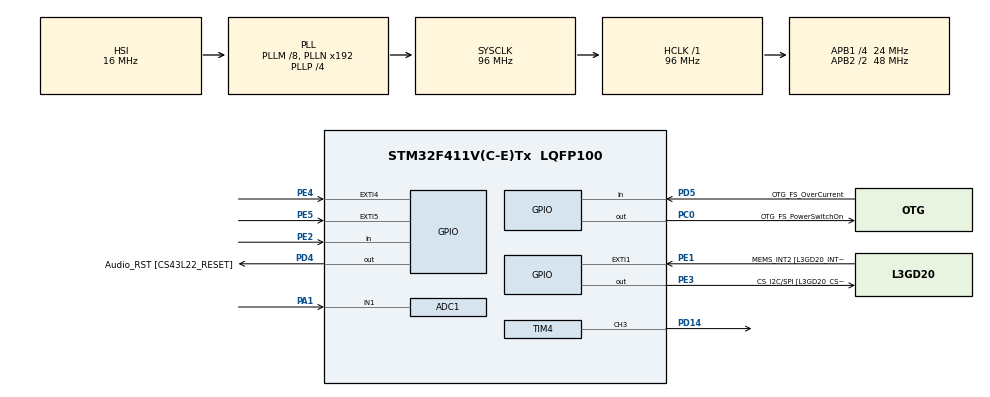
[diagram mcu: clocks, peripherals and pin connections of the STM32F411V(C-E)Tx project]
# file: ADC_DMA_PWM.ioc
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ADC1.Channel-0\#ChannelRegularConversion=ADC_CHANNEL_1
ADC1.ContinuousConvMode=ENABLE
ADC1.DMAContinuousRequests=ENABLE
ADC1.EOCSelection=ADC_EOC_SEQ_CONV
ADC1.InjNumberOfConversion=0
ADC1.NbrOfConversionFlag=1
ADC1.master=1
Dma.ADC1.0.Direction=DMA_PERIPH_TO_MEMORY
Dma.ADC1.0.FIFOMode=DMA_FIFOMODE_DISABLE
Dma.ADC1.0.Instance=DMA2_Stream0
Dma.ADC1.0.MemDataAlignment=DMA_MDATAALIGN_HALFWORD
Dma.ADC1.0.MemInc=DMA_MINC_ENABLE
Dma.ADC1.0.Mode=DMA_NORMAL
Dma.ADC1.0.PeriphDataAlignment=DMA_PDATAALIGN_HALFWORD
Dma.ADC1.0.PeriphInc=DMA_PINC_DISABLE
Dma.ADC1.0.Priority=DMA_PRIORITY_LOW
Dma.Request0=ADC1
Dma.Request1=TIM4_CH3
Dma.TIM4_CH3.1.Direction=DMA_MEMORY_TO_PERIPH
Dma.TIM4_CH3.1.FIFOMode=DMA_FIFOMODE_DISABLE
Dma.TIM4_CH3.1.Instance=DMA1_Stream7
Dma.TIM4_CH3.1.MemDataAlignment=DMA_MDATAALIGN_HALFWORD
Dma.TIM4_CH3.1.MemInc=DMA_MINC_ENABLE
Dma.TIM4_CH3.1.Mode=DMA_CIRCULAR
Dma.TIM4_CH3.1.PeriphDataAlignment=DMA_PDATAALIGN_HALFWORD
Dma.TIM4_CH3.1.PeriphInc=DMA_PINC_DISABLE
Dma.TIM4_CH3.1.Priority=DMA_PRIORITY_LOW
Mcu.Family=STM32F4
Mcu.Name=STM32F411V(C-E)Tx
Mcu.Package=LQFP100
NVIC.DMA1_Stream7_IRQn=true\:0\:0\:false\:false\:true\:false\:true\:true
NVIC.DMA2_Stream0_IRQn=true\:0\:0\:false\:false\:true\:false\:true\:true
NVIC.PriorityGroup=NVIC_PRIORITYGROUP_0
PA0-WKUP.Signal=ADCx_IN0
PA1.Signal=ADCx_IN1
PA10.GPIO_Label=OTG_FS_ID
PA10.Signal=USB_OTG_FS_ID
PA11.GPIO_Label=OTG_FS_DM
PA11.Signal=USB_OTG_FS_DM
PA12.GPIO_Label=OTG_FS_DP
PA12.Signal=USB_OTG_FS_DP
PA13.GPIO_Label=SWDIO
PA13.Signal=SYS_JTMS-SWDIO
PA14.GPIO_Label=SWCLK
PA14.Signal=SYS_JTCK-SWCLK
PA5.GPIO_Label=SPI1_SCK [L3GD20_SC/SPC]
PA5.Signal=SPI1_SCK
PA6.GPIO_Label=SPI1_MISO [L3GD20_AS0/SDO]
PA6.Signal=SPI1_MISO
PA7.GPIO_Label=SPI1_MOSI [L3GD20_SDA/SDI/SDO]
PA7.Signal=SPI1_MOSI
PA9.GPIO_Label=VBUS_FS
PA9.Signal=USB_OTG_FS_VBUS
PB10.GPIO_Label=CLK_IN [MP45DT02_CLK]
PB10.Signal=I2S2_CK
PB12.Signal=I2S2_WS
PB3.GPIO_Label=SWO
PB3.Signal=SYS_JTDO-SWO
PB6.GPIO_Label=Audio_SCL [CS43L22_SCL]
PB6.GPIO_Mode=GPIO_MODE_AF_OD
PB6.GPIO_PuPd=GPIO_NOPULL
PB6.GPIO_Speed=GPIO_SPEED_FREQ_LOW
PB6.Signal=I2C1_SCL
PB9.GPIO_Label=Audio_SDA [CS43L22_SDA]
PB9.GPIO_Mode=GPIO_MODE_AF_OD
PB9.GPIO_PuPd=GPIO_NOPULL
PB9.GPIO_Speed=GPIO_SPEED_FREQ_LOW
PB9.Signal=I2C1_SDA
PC0.GPIO_Label=OTG_FS_PowerSwitchOn
PC0.PinState=GPIO_PIN_SET
PC0.Signal=GPIO_Output
PC10.GPIO_Label=I2S3_SCK [CS43L22_SCLK]
PC10.GPIO_Mode=GPIO_MODE_AF_PP
PC10.GPIO_PuPd=GPIO_NOPULL
PC10.GPIO_Speed=GPIO_SPEED_FREQ_LOW
PC10.Signal=I2S3_CK
PC12.GPIO_Label=I2S3_SD [CS43L22_SDIN]
PC12.GPIO_Mode=GPIO_MODE_AF_PP
PC12.GPIO_PuPd=GPIO_NOPULL
PC12.GPIO_Speed=GPIO_SPEED_FREQ_LOW
PC12.Signal=I2S3_SD
PC14-OSC32_IN.GPIO_Label=PC14-OSC32_IN
PC14-OSC32_IN.Signal=RCC_OSC32_IN
PC15-OSC32_OUT.GPIO_Label=PC15-OSC32_OUT
PC15-OSC32_OUT.Signal=RCC_OSC32_OUT
PC3.GPIO_Label=PDM_OUT [MP45DT02_DOUT]
PC3.Signal=I2S2_SD
PC7.GPIO_Label=I2S3_MCK [CS43L22_MCLK]
PC7.GPIO_Mode=GPIO_MODE_AF_PP
PC7.GPIO_PuPd=GPIO_NOPULL
PC7.GPIO_Speed=GPIO_SPEED_FREQ_LOW
PC7.Signal=I2S3_MCK
PD14.Signal=S_TIM4_CH3
PD4.GPIO_Label=Audio_RST [CS43L22_RESET]
PD4.Signal=GPIO_Output
PD5.GPIO_Label=OTG_FS_OverCurrent
PD5.Signal=GPIO_Input
PE1.GPIO_Label=MEMS_INT2 [L3GD20_INT2]
PE1.GPIO_ModeDefaultEXTI=GPIO_MODE_EVT_RISING
PE1.Signal=GPXTI1
PE2.Signal=GPIO_Input
PE3.GPIO_Label=CS_I2C/SPI [L3GD20_CS_I2C/SPI]
PE3.Signal=GPIO_Output
PE4.GPIO_ModeDefaultEXTI=GPIO_MODE_EVT_RISING
PE4.Signal=GPXTI4
PE5.GPIO_ModeDefaultEXTI=GPIO_MODE_EVT_RISING
PE5.Signal=GPXTI5
PH0\ -\ OSC_IN.GPIO_Label=PH0-OSC_IN
PH0\ -\ OSC_IN.Signal=RCC_OSC_IN
PH1\ -\ OSC_OUT.GPIO_Label=PH1-OSC_OUT
PH1\ -\ OSC_OUT.Signal=RCC_OSC_OUT
ProjectManager.HeapSize=0x200
ProjectManager.StackSize=0x400
ProjectManager.TargetToolchain=STM32CubeIDE
RCC.48MHZClocksFreq_Value=48000000
RCC.AHBFreq_Value=96000000
RCC.APB1CLKDivider=RCC_HCLK_DIV4
RCC.APB1Freq_Value=24000000
RCC.APB1TimFreq_Value=48000000
RCC.APB2CLKDivider=RCC_HCLK_DIV2
RCC.APB2Freq_Value=48000000
RCC.APB2TimFreq_Value=96000000
RCC.CortexFreq_Value=96000000
RCC.HCLKFreq_Value=96000000
RCC.HSE_VALUE=8000000
RCC.HSI_VALUE=16000000
RCC.LSE_VALUE=32768
RCC.PLLI2SM=5
RCC.PLLI2SN=200
RCC.PLLM=8
RCC.PLLP=RCC_PLLP_DIV4
RCC.PLLQ=8
RCC.SYSCLKFreq_VALUE=96000000
RCC.SYSCLKSource=RCC_SYSCLKSOURCE_PLLCLK
RCC.VCOOutputFreq_Value=384000000
SH.ADCx_IN0.0=ADC1_IN0
SH.ADCx_IN1.0=ADC1_IN1,IN1
SH.S_TIM4_CH3.0=TIM4_CH3,PWM Generation3 CH3
TIM4.Channel-PWM\ Generation3\ CH3=TIM_CHANNEL_3
TIM4.Period=4096-1
TIM4.Prescaler=48-1
VP_TIM4_VS_ClockSourceINT.Mode=Internal
board=STM32F411E-DISCO

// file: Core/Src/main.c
/* USER CODE BEGIN Header */
/**
  ******************************************************************************
  * @file           : main.c
  * @brief          : Main program body
  ******************************************************************************
  * @attention
  *
  * Copyright (c) 2024 STMicroelectronics.
  * All rights reserved.
  *
  * This software is licensed under terms that can be found in the LICENSE file
  * in the root directory of this software component.
  * If no LICENSE file comes with this software, it is provided AS-IS.
  *
  * it chatches full period of 13.33 kHz signal and transfers it from PA1 to LD5
  * thru DMA
  *
  ******************************************************************************
  */
/* USER CODE END Header */
#include "main.h"

/* USER CODE BEGIN Includes */
#include <math.h>
/* USER CODE END Includes */

ADC_HandleTypeDef hadc1;
DMA_HandleTypeDef hdma_adc1;

TIM_HandleTypeDef htim4;
DMA_HandleTypeDef hdma_tim4_ch3;

void SystemClock_Config(void);
static void MX_GPIO_Init(void);
static void MX_DMA_Init(void);
static void MX_ADC1_Init(void);
static void MX_TIM4_Init(void);

/* USER CODE BEGIN 0 */

#define ADC_BUF_LEN 100

uint16_t adc_buf[ADC_BUF_LEN];

uint8_t conv_complete = 0;

/* USER CODE END 0 */

int main(void)
{

  /* USER CODE BEGIN 1 */
	initialise_monitor_handles();
	printf("Semihosting\n");
  /* USER CODE END 1 */

  /* MCU Configuration--------------------------------------------------------*/

  /* Reset of all peripherals, Initializes the Flash interface and the Systick. */
  HAL_Init();

  /* Configure the system clock */
  SystemClock_Config();

  /* Initialize all configured peripherals */
  MX_GPIO_Init();
  MX_DMA_Init();
  MX_ADC1_Init();
  MX_TIM4_Init();

  /* Infinite loop */
  /* USER CODE BEGIN WHILE */
  uint16_t probka;
  float probka_float;
  uint16_t rozdzielczosc_probek;

  switch(hadc1.Init.Resolution)
  {
  case ADC_RESOLUTION_12B:
	  rozdzielczosc_probek = 12;
	  break;

  case ADC_RESOLUTION_10B:
  	  rozdzielczosc_probek = 10;
  	  break;

  case ADC_RESOLUTION_8B:
  	  rozdzielczosc_probek = 8;
  	  break;

  case ADC_RESOLUTION_6B:
  	  rozdzielczosc_probek = 6;
  	  break;

  }

  float napiecie_odniesienia = 3.3;

  HAL_ADC_Start_DMA(&hadc1, adc_buf, ADC_BUF_LEN);

  while (1)
  {
	  while(!conv_complete) {};

	  HAL_TIM_PWM_Start_DMA(&htim4, TIM_CHANNEL_3, adc_buf, ADC_BUF_LEN);

	  while (1) {};

    /* USER CODE END WHILE */

  }
}

void SystemClock_Config(void)
{
  RCC_OscInitTypeDef RCC_OscInitStruct = {0};
  RCC_ClkInitTypeDef RCC_ClkInitStruct = {0};

  /** Configure the main internal regulator output voltage
  */
  __HAL_RCC_PWR_CLK_ENABLE();
  __HAL_PWR_VOLTAGESCALING_CONFIG(PWR_REGULATOR_VOLTAGE_SCALE1);

  /** Initializes the RCC Oscillators according to the specified parameters
  * in the RCC_OscInitTypeDef structure.
  */
  RCC_OscInitStruct.OscillatorType = RCC_OSCILLATORTYPE_HSI;
  RCC_OscInitStruct.HSIState = RCC_HSI_ON;
  RCC_OscInitStruct.HSICalibrationValue = RCC_HSICALIBRATION_DEFAULT;
  RCC_OscInitStruct.PLL.PLLState = RCC_PLL_ON;
  RCC_OscInitStruct.PLL.PLLSource = RCC_PLLSOURCE_HSI;
  RCC_OscInitStruct.PLL.PLLM = 8;
  RCC_OscInitStruct.PLL.PLLN = 192;
  RCC_OscInitStruct.PLL.PLLP = RCC_PLLP_DIV4;
  RCC_OscInitStruct.PLL.PLLQ = 8;
  if (HAL_RCC_OscConfig(&RCC_OscInitStruct) != HAL_OK)
  {
    Error_Handler();
  }

  /** Initializes the CPU, AHB and APB buses clocks
  */
  RCC_ClkInitStruct.ClockType = RCC_CLOCKTYPE_HCLK|RCC_CLOCKTYPE_SYSCLK
                              |RCC_CLOCKTYPE_PCLK1|RCC_CLOCKTYPE_PCLK2;
  RCC_ClkInitStruct.SYSCLKSource = RCC_SYSCLKSOURCE_PLLCLK;
  RCC_ClkInitStruct.AHBCLKDivider = RCC_SYSCLK_DIV1;
  RCC_ClkInitStruct.APB1CLKDivider = RCC_HCLK_DIV4;
  RCC_ClkInitStruct.APB2CLKDivider = RCC_HCLK_DIV2;

  if (HAL_RCC_ClockConfig(&RCC_ClkInitStruct, FLASH_LATENCY_3) != HAL_OK)
  {
    Error_Handler();
  }
}

static void MX_ADC1_Init(void)
{

  ADC_ChannelConfTypeDef sConfig = {0};

  /** Configure the global features of the ADC (Clock, Resolution, Data Alignment and number of conversion)
  */
  hadc1.Instance = ADC1;
  hadc1.Init.ClockPrescaler = ADC_CLOCK_SYNC_PCLK_DIV2;
  hadc1.Init.Resolution = ADC_RESOLUTION_12B;
  hadc1.Init.ScanConvMode = DISABLE;
  hadc1.Init.ContinuousConvMode = ENABLE;
  hadc1.Init.DiscontinuousConvMode = DISABLE;
  hadc1.Init.ExternalTrigConvEdge = ADC_EXTERNALTRIGCONVEDGE_NONE;
  hadc1.Init.ExternalTrigConv = ADC_SOFTWARE_START;
  hadc1.Init.DataAlign = ADC_DATAALIGN_RIGHT;
  hadc1.Init.NbrOfConversion = 1;
  hadc1.Init.DMAContinuousRequests = ENABLE;
  hadc1.Init.EOCSelection = ADC_EOC_SEQ_CONV;
  if (HAL_ADC_Init(&hadc1) != HAL_OK)
  {
    Error_Handler();
  }

  /** Configure for the selected ADC regular channel its corresponding rank in the sequencer and its sample time.
  */
  sConfig.Channel = ADC_CHANNEL_1;
  sConfig.Rank = 1;
  sConfig.SamplingTime = ADC_SAMPLETIME_3CYCLES;
  if (HAL_ADC_ConfigChannel(&hadc1, &sConfig) != HAL_OK)
  {
    Error_Handler();
  }

}

static void MX_TIM4_Init(void)
{

  TIM_ClockConfigTypeDef sClockSourceConfig = {0};
  TIM_MasterConfigTypeDef sMasterConfig = {0};
  TIM_OC_InitTypeDef sConfigOC = {0};

  htim4.Instance = TIM4;
  htim4.Init.Prescaler = 48-1;
  htim4.Init.CounterMode = TIM_COUNTERMODE_UP;
  htim4.Init.Period = 4096-1;
  htim4.Init.ClockDivision = TIM_CLOCKDIVISION_DIV1;
  htim4.Init.AutoReloadPreload = TIM_AUTORELOAD_PRELOAD_DISABLE;
  if (HAL_TIM_Base_Init(&htim4) != HAL_OK)
  {
    Error_Handler();
  }
  sClockSourceConfig.ClockSource = TIM_CLOCKSOURCE_INTERNAL;
  if (HAL_TIM_ConfigClockSource(&htim4, &sClockSourceConfig) != HAL_OK)
  {
    Error_Handler();
  }
  if (HAL_TIM_PWM_Init(&htim4) != HAL_OK)
  {
    Error_Handler();
  }
  sMasterConfig.MasterOutputTrigger = TIM_TRGO_RESET;
  sMasterConfig.MasterSlaveMode = TIM_MASTERSLAVEMODE_DISABLE;
  if (HAL_TIMEx_MasterConfigSynchronization(&htim4, &sMasterConfig) != HAL_OK)
  {
    Error_Handler();
  }
  sConfigOC.OCMode = TIM_OCMODE_PWM1;
  sConfigOC.Pulse = 0;
  sConfigOC.OCPolarity = TIM_OCPOLARITY_HIGH;
  sConfigOC.OCFastMode = TIM_OCFAST_DISABLE;
  if (HAL_TIM_PWM_ConfigChannel(&htim4, &sConfigOC, TIM_CHANNEL_3) != HAL_OK)
  {
    Error_Handler();
  }
  HAL_TIM_MspPostInit(&htim4);

}

static void MX_DMA_Init(void)
{

  /* DMA controller clock enable */
  __HAL_RCC_DMA2_CLK_ENABLE();
  __HAL_RCC_DMA1_CLK_ENABLE();

  /* DMA interrupt init */
  /* DMA1_Stream7_IRQn interrupt configuration */
  HAL_NVIC_SetPriority(DMA1_Stream7_IRQn, 0, 0);
  HAL_NVIC_EnableIRQ(DMA1_Stream7_IRQn);
  /* DMA2_Stream0_IRQn interrupt configuration */
  HAL_NVIC_SetPriority(DMA2_Stream0_IRQn, 0, 0);
  HAL_NVIC_EnableIRQ(DMA2_Stream0_IRQn);

}

static void MX_GPIO_Init(void)
{
  GPIO_InitTypeDef GPIO_InitStruct = {0};

  /* GPIO Ports Clock Enable */
  __HAL_RCC_GPIOE_CLK_ENABLE();
  __HAL_RCC_GPIOC_CLK_ENABLE();
  __HAL_RCC_GPIOH_CLK_ENABLE();
  __HAL_RCC_GPIOA_CLK_ENABLE();
  __HAL_RCC_GPIOB_CLK_ENABLE();
  __HAL_RCC_GPIOD_CLK_ENABLE();

  /*Configure GPIO pin Output Level */
  HAL_GPIO_WritePin(CS_I2C_SPI_GPIO_Port, CS_I2C_SPI_Pin, GPIO_PIN_RESET);

  /*Configure GPIO pin Output Level */
  HAL_GPIO_WritePin(OTG_FS_PowerSwitchOn_GPIO_Port, OTG_FS_PowerSwitchOn_Pin, GPIO_PIN_SET);

  /*Configure GPIO pin Output Level */
  HAL_GPIO_WritePin(Audio_RST_GPIO_Port, Audio_RST_Pin, GPIO_PIN_RESET);

  /*Configure GPIO pin : PE2 */
  GPIO_InitStruct.Pin = GPIO_PIN_2;
  GPIO_InitStruct.Mode = GPIO_MODE_INPUT;
  GPIO_InitStruct.Pull = GPIO_NOPULL;
  HAL_GPIO_Init(GPIOE, &GPIO_InitStruct);

  /*Configure GPIO pin : CS_I2C_SPI_Pin */
  GPIO_InitStruct.Pin = CS_I2C_SPI_Pin;
  GPIO_InitStruct.Mode = GPIO_MODE_OUTPUT_PP;
  GPIO_InitStruct.Pull = GPIO_NOPULL;
  GPIO_InitStruct.Speed = GPIO_SPEED_FREQ_LOW;
  HAL_GPIO_Init(CS_I2C_SPI_GPIO_Port, &GPIO_InitStruct);

  /*Configure GPIO pins : PE4 PE5 MEMS_INT2_Pin */
  GPIO_InitStruct.Pin = GPIO_PIN_4|GPIO_PIN_5|MEMS_INT2_Pin;
  GPIO_InitStruct.Mode = GPIO_MODE_EVT_RISING;
  GPIO_InitStruct.Pull = GPIO_NOPULL;
  HAL_GPIO_Init(GPIOE, &GPIO_InitStruct);

  /*Configure GPIO pin : OTG_FS_PowerSwitchOn_Pin */
  GPIO_InitStruct.Pin = OTG_FS_PowerSwitchOn_Pin;
  GPIO_InitStruct.Mode = GPIO_MODE_OUTPUT_PP;
  GPIO_InitStruct.Pull = GPIO_NOPULL;
  GPIO_InitStruct.Speed = GPIO_SPEED_FREQ_LOW;
  HAL_GPIO_Init(OTG_FS_PowerSwitchOn_GPIO_Port, &GPIO_InitStruct);

  /*Configure GPIO pin : PDM_OUT_Pin */
  GPIO_InitStruct.Pin = PDM_OUT_Pin;
  GPIO_InitStruct.Mode = GPIO_MODE_AF_PP;
  GPIO_InitStruct.Pull = GPIO_NOPULL;
  GPIO_InitStruct.Speed = GPIO_SPEED_FREQ_LOW;
  GPIO_InitStruct.Alternate = GPIO_AF5_SPI2;
  HAL_GPIO_Init(PDM_OUT_GPIO_Port, &GPIO_InitStruct);

  /*Configure GPIO pins : SPI1_SCK_Pin SPI1_MISO_Pin SPI1_MOSI_Pin */
  GPIO_InitStruct.Pin = SPI1_SCK_Pin|SPI1_MISO_Pin|SPI1_MOSI_Pin;
  GPIO_InitStruct.Mode = GPIO_MODE_AF_PP;
  GPIO_InitStruct.Pull = GPIO_NOPULL;
  GPIO_InitStruct.Speed = GPIO_SPEED_FREQ_VERY_HIGH;
  GPIO_InitStruct.Alternate = GPIO_AF5_SPI1;
  HAL_GPIO_Init(GPIOA, &GPIO_InitStruct);

  /*Configure GPIO pins : CLK_IN_Pin PB12 */
  GPIO_InitStruct.Pin = CLK_IN_Pin|GPIO_PIN_12;
  GPIO_InitStruct.Mode = GPIO_MODE_AF_PP;
  GPIO_InitStruct.Pull = GPIO_NOPULL;
  GPIO_InitStruct.Speed = GPIO_SPEED_FREQ_LOW;
  GPIO_InitStruct.Alternate = GPIO_AF5_SPI2;
  HAL_GPIO_Init(GPIOB, &GPIO_InitStruct);

  /*Configure GPIO pins : I2S3_MCK_Pin I2S3_SCK_Pin I2S3_SD_Pin */
  GPIO_InitStruct.Pin = I2S3_MCK_Pin|I2S3_SCK_Pin|I2S3_SD_Pin;
  GPIO_InitStruct.Mode = GPIO_MODE_AF_PP;
  GPIO_InitStruct.Pull = GPIO_NOPULL;
  GPIO_InitStruct.Speed = GPIO_SPEED_FREQ_LOW;
  GPIO_InitStruct.Alternate = GPIO_AF6_SPI3;
  HAL_GPIO_Init(GPIOC, &GPIO_InitStruct);

  /*Configure GPIO pin : VBUS_FS_Pin */
  GPIO_InitStruct.Pin = VBUS_FS_Pin;
  GPIO_InitStruct.Mode = GPIO_MODE_INPUT;
  GPIO_InitStruct.Pull = GPIO_NOPULL;
  HAL_GPIO_Init(VBUS_FS_GPIO_Port, &GPIO_InitStruct);

  /*Configure GPIO pins : OTG_FS_ID_Pin OTG_FS_DM_Pin OTG_FS_DP_Pin */
  GPIO_InitStruct.Pin = OTG_FS_ID_Pin|OTG_FS_DM_Pin|OTG_FS_DP_Pin;
  GPIO_InitStruct.Mode = GPIO_MODE_AF_PP;
  GPIO_InitStruct.Pull = GPIO_NOPULL;
  GPIO_InitStruct.Speed = GPIO_SPEED_FREQ_VERY_HIGH;
  GPIO_InitStruct.Alternate = GPIO_AF10_OTG_FS;
  HAL_GPIO_Init(GPIOA, &GPIO_InitStruct);

  /*Configure GPIO pin : Audio_RST_Pin */
  GPIO_InitStruct.Pin = Audio_RST_Pin;
  GPIO_InitStruct.Mode = GPIO_MODE_OUTPUT_PP;
  GPIO_InitStruct.Pull = GPIO_NOPULL;
  GPIO_InitStruct.Speed = GPIO_SPEED_FREQ_LOW;
  HAL_GPIO_Init(Audio_RST_GPIO_Port, &GPIO_InitStruct);

  /*Configure GPIO pin : OTG_FS_OverCurrent_Pin */
  GPIO_InitStruct.Pin = OTG_FS_OverCurrent_Pin;
  GPIO_InitStruct.Mode = GPIO_MODE_INPUT;
  GPIO_InitStruct.Pull = GPIO_NOPULL;
  HAL_GPIO_Init(OTG_FS_OverCurrent_GPIO_Port, &GPIO_InitStruct);

  /*Configure GPIO pins : Audio_SCL_Pin Audio_SDA_Pin */
  GPIO_InitStruct.Pin = Audio_SCL_Pin|Audio_SDA_Pin;
  GPIO_InitStruct.Mode = GPIO_MODE_AF_OD;
  GPIO_InitStruct.Pull = GPIO_NOPULL;
  GPIO_InitStruct.Speed = GPIO_SPEED_FREQ_LOW;
  GPIO_InitStruct.Alternate = GPIO_AF4_I2C1;
  HAL_GPIO_Init(GPIOB, &GPIO_InitStruct);

}

/* USER CODE BEGIN 4 */
void HAL_ADC_ConvCpltCallback(ADC_HandleTypeDef *hadc)
{
	printf("Konwersja zakonczona\n");
	conv_complete = 1;
}
/* USER CODE END 4 */

void Error_Handler(void)
{
  __disable_irq();
  while (1)
  {
  }
}
